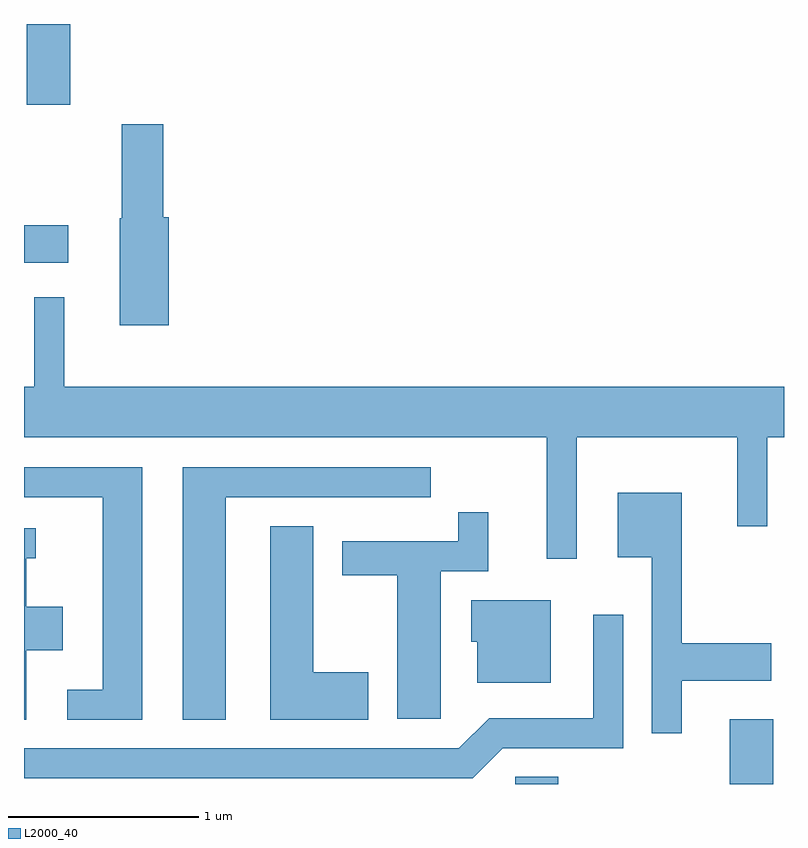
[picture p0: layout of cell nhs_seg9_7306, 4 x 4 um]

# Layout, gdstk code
import gdstk
lib = gdstk.Library(unit=1e-6, precision=1e-09)
def R(c, l, rs):  # rectangles x0, y0, x1, y1
    for r in rs: c.add(gdstk.rectangle(r[:2], r[2:], *l))
def P(c, l, *ps):  # polygons
    for p in ps: c.add(gdstk.Polygon(p, *l))
L2000_40 = (2000, 40)

nhs_seg9_7306 = lib.new_cell('nhs_seg9_7306')
R(nhs_seg9_7306, L2000_40, [(404.196,1994.432,404.424,1994.469), (405.326,1994.432,405.554,1994.774), (401.611,1997.176,401.844,1997.374), (401.626,1998.006,401.854,1998.432)])
P(nhs_seg9_7306, L2000_40, [(402.374,1997.414),(402.344,1997.414),(402.344,1997.904),(402.126,1997.904),(402.126,1997.41),(402.116,1997.41),(402.116,1996.846),(402.374,1996.846)],
  [(404.519,1996.256),(405.366,1996.256),(405.366,1995.788),(405.524,1995.788),(405.524,1996.256),(405.611,1996.256),(405.611,1996.524),(401.824,1996.524),(401.824,1996.993),(401.666,1996.993),(401.666,1996.524),(401.611,1996.524),(401.611,1996.256),(404.361,1996.256),(404.361,1995.618),(404.519,1995.618)],
  [(402.234,1996.099),(401.611,1996.099),(401.611,1995.941),(402.026,1995.941),(402.026,1994.929),(401.838,1994.929),(401.838,1994.771),(402.234,1994.771)],
  [(402.674,1995.941),(403.753,1995.941),(403.753,1996.099),(402.446,1996.099),(402.446,1994.771),(402.674,1994.771)],
  [(405.074,1994.976),(405.544,1994.976),(405.544,1995.174),(405.074,1995.174),(405.074,1995.964),(404.736,1995.964),(404.736,1995.626),(404.916,1995.626),(404.916,1994.698),(405.074,1994.698)],
  [(403.804,1995.551),(404.054,1995.551),(404.054,1995.863),(403.896,1995.863),(403.896,1995.709),(403.286,1995.709),(403.286,1995.531),(403.576,1995.531),(403.576,1994.776),(403.804,1994.776)],
  [(403.424,1995.019),(403.134,1995.019),(403.134,1995.789),(402.906,1995.789),(402.906,1994.771),(403.424,1994.771)],
  [(401.624,1995.136),(401.814,1995.136),(401.814,1995.364),(401.624,1995.364),(401.624,1995.621),(401.673,1995.621),(401.673,1995.779),(401.611,1995.779),(401.611,1994.771),(401.624,1994.771)],
  [(404.384,1995.399),(403.966,1995.399),(403.966,1995.181),(403.996,1995.181),(403.996,1994.966),(404.384,1994.966)],
  [(404.132,1994.621),(404.764,1994.621),(404.764,1995.323),(404.606,1995.323),(404.606,1994.779),(404.059,1994.779),(403.899,1994.619),(401.611,1994.619),(401.611,1994.461),(403.972,1994.461)])

lib.write_gds('nhs_seg9_7306.gds')
